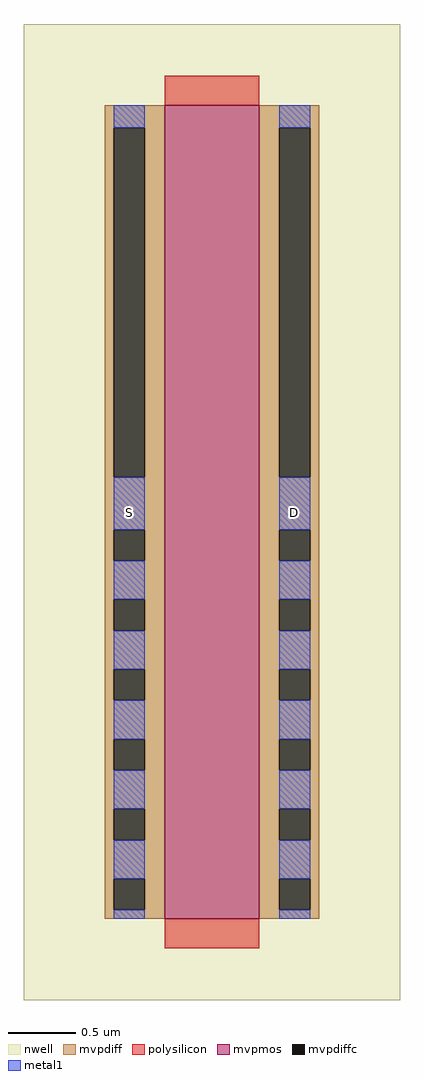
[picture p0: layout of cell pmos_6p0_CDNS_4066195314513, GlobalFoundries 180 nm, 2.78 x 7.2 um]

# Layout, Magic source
magic
tech gf180mcuD
magscale 1 10
<< nwell >>
rect -208 -120 348 1320
<< mvpmos >>
rect 0 0 140 1200
<< mvpdiff >>
rect -88 1167 0 1200
rect -88 651 -75 1167
rect -29 651 0 1167
rect -88 574 0 651
rect -88 528 -75 574
rect -29 528 0 574
rect -88 471 0 528
rect -88 425 -75 471
rect -29 425 0 471
rect -88 368 0 425
rect -88 322 -75 368
rect -29 322 0 368
rect -88 265 0 322
rect -88 219 -75 265
rect -29 219 0 265
rect -88 162 0 219
rect -88 116 -75 162
rect -29 116 0 162
rect -88 59 0 116
rect -88 13 -75 59
rect -29 13 0 59
rect -88 0 0 13
rect 140 1167 228 1200
rect 140 651 169 1167
rect 215 651 228 1167
rect 140 574 228 651
rect 140 528 169 574
rect 215 528 228 574
rect 140 471 228 528
rect 140 425 169 471
rect 215 425 228 471
rect 140 368 228 425
rect 140 322 169 368
rect 215 322 228 368
rect 140 265 228 322
rect 140 219 169 265
rect 215 219 228 265
rect 140 162 228 219
rect 140 116 169 162
rect 215 116 228 162
rect 140 59 228 116
rect 140 13 169 59
rect 215 13 228 59
rect 140 0 228 13
<< mvpdiffc >>
rect -75 651 -29 1167
rect -75 528 -29 574
rect -75 425 -29 471
rect -75 322 -29 368
rect -75 219 -29 265
rect -75 116 -29 162
rect -75 13 -29 59
rect 169 651 215 1167
rect 169 528 215 574
rect 169 425 215 471
rect 169 322 215 368
rect 169 219 215 265
rect 169 116 215 162
rect 169 13 215 59
<< polysilicon >>
rect 0 1200 140 1244
rect 0 -44 140 0
<< metal1 >>
rect -75 1167 -29 1200
rect -75 574 -29 651
rect -75 471 -29 528
rect -75 368 -29 425
rect -75 265 -29 322
rect -75 162 -29 219
rect -75 59 -29 116
rect -75 0 -29 13
rect 169 1167 215 1200
rect 169 574 215 651
rect 169 471 215 528
rect 169 368 215 425
rect 169 265 215 322
rect 169 162 215 219
rect 169 59 215 116
rect 169 0 215 13
<< labels >>
rlabel metal1 192 600 192 600 4 D
rlabel metal1 -52 600 -52 600 4 S
<< end >>
